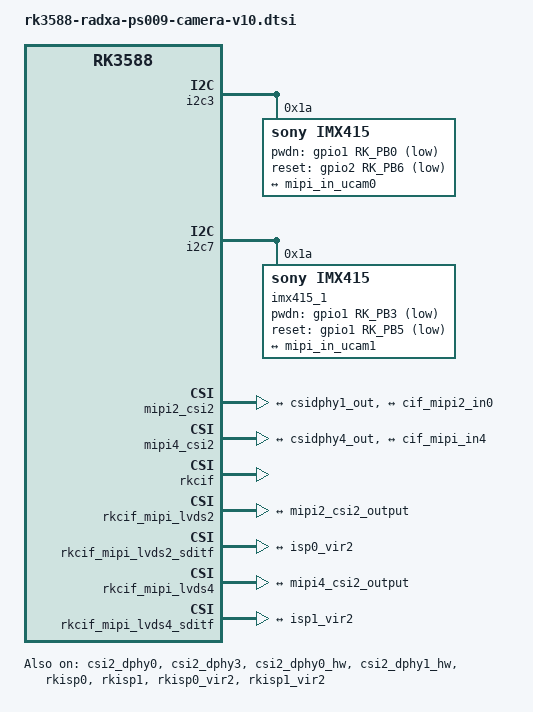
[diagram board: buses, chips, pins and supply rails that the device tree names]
// SPDX-License-Identifier: (GPL-2.0+ OR MIT)
/*
 * Copyright (c) 2021 Rockchip Electronics Co., Ltd.
 *
 */

/* dphy0 full mode */
&csi2_dphy0 {
	status = "okay";

	ports {
		#address-cells = <1>;
		#size-cells = <0>;
		port@0 {
			reg = <0>;
			#address-cells = <1>;
			#size-cells = <0>;

			mipi_in_ucam0: endpoint@1 {
				reg = <1>;
				remote-endpoint = <&imx415_out0>;
				data-lanes = <1 2 3 4>;
			};
		};
		port@1 {
			reg = <1>;
			#address-cells = <1>;
			#size-cells = <0>;

			csidphy1_out: endpoint@0 {
				reg = <0>;
				remote-endpoint = <&mipi2_csi2_input>;
			};
		};
	};
};

/* dphy1 full mode */
&csi2_dphy3 {
	status = "okay";

	ports {
		#address-cells = <1>;
		#size-cells = <0>;
		port@0 {
			reg = <0>;
			#address-cells = <1>;
			#size-cells = <0>;

			mipi_in_ucam1: endpoint@1 {
				reg = <1>;
				remote-endpoint = <&imx415_out1>;
				data-lanes = <1 2 3 4>;
			};
		};
		port@1 {
			reg = <1>;
			#address-cells = <1>;
			#size-cells = <0>;

			csidphy4_out: endpoint@0 {
				reg = <0>;
				remote-endpoint = <&mipi4_csi2_input>;
			};
		};
	};
};


&csi2_dphy0_hw {
	status = "okay";
};

&csi2_dphy1_hw {
	status = "okay";
};

&i2c3 {
	status = "okay";
	pinctrl-names = "default";
	pinctrl-0 = <&i2c3m0_xfer>;

	imx415: imx415@1a {
		compatible = "sony,imx415";
		reg = <0x1a>;
		clocks = <&cru CLK_MIPI_CAMARAOUT_M3>;
		clock-names = "xvclk";
		pinctrl-names = "default";
		pinctrl-0 = <&mipim0_camera3_clk>;
		power-domains = <&power RK3588_PD_VI>;
		pwdn-gpios = <&gpio1 RK_PB0 GPIO_ACTIVE_LOW>;
		reset-gpios = <&gpio2 RK_PB6 GPIO_ACTIVE_LOW>;
		//avdd-supply = <&vcc_mipidphy0>;
		rockchip,camera-module-index = <0>;
		rockchip,camera-module-facing = "back";
		rockchip,camera-module-name = "CMK-OT2022-PX1";
		rockchip,camera-module-lens-name = "IR0147-50IRC-8M-F20";
		//lens-focus = <&cam_ircut0>;
		port {
			imx415_out0: endpoint {
				remote-endpoint = <&mipi_in_ucam0>;
				data-lanes = <1 2 3 4>;
			};
		};
	};
};

&i2c7 {
	status = "okay";
	pinctrl-names = "default";
	pinctrl-0 = <&i2c7m0_xfer>;

	imx415_1: imx415-1@1a {
		compatible = "sony,imx415";
		reg = <0x1a>;
		clocks = <&cru CLK_MIPI_CAMARAOUT_M4>;
		clock-names = "xvclk";
		pinctrl-names = "default";
		pinctrl-0 = <&mipim0_camera4_clk>;
		power-domains = <&power RK3588_PD_VI>;
		pwdn-gpios = <&gpio1 RK_PB3 GPIO_ACTIVE_LOW>;
		reset-gpios = <&gpio1 RK_PB5 GPIO_ACTIVE_LOW>;
		//avdd-supply = <&vcc_mipidphy0>;
		rockchip,camera-module-index = <1>;
		rockchip,camera-module-facing = "front";
		rockchip,camera-module-name = "CMK-OT2022-PX1";
		rockchip,camera-module-lens-name = "IR0147-50IRC-8M-F20";
		//lens-focus = <&cam_ircut0>;
		port {
			imx415_out1: endpoint {
				remote-endpoint = <&mipi_in_ucam1>;
				data-lanes = <1 2 3 4>;
			};
		};
	};
};



&mipi2_csi2 {
	status = "okay";

	ports {
		#address-cells = <1>;
		#size-cells = <0>;

		port@0 {
			reg = <0>;
			#address-cells = <1>;
			#size-cells = <0>;

			mipi2_csi2_input: endpoint@1 {
				reg = <1>;
				remote-endpoint = <&csidphy1_out>;
			};
		};

		port@1 {
			reg = <1>;
			#address-cells = <1>;
			#size-cells = <0>;

			mipi2_csi2_output: endpoint@0 {
				reg = <0>;
				remote-endpoint = <&cif_mipi2_in0>;
			};
		};
	};
};

&mipi4_csi2 {
	status = "okay";

	ports {
		#address-cells = <1>;
		#size-cells = <0>;

		port@0 {
			reg = <0>;
			#address-cells = <1>;
			#size-cells = <0>;

			mipi4_csi2_input: endpoint@1 {
				reg = <1>;
				remote-endpoint = <&csidphy4_out>;
			};
		};

		port@1 {
			reg = <1>;
			#address-cells = <1>;
			#size-cells = <0>;

			mipi4_csi2_output: endpoint@0 {
				reg = <0>;
				remote-endpoint = <&cif_mipi_in4>;
			};
		};
	};
};


&rkcif {
	status = "okay";
};

&rkcif_mipi_lvds2 {
	status = "okay";

	port {
		cif_mipi2_in0: endpoint {
			remote-endpoint = <&mipi2_csi2_output>;
		};
	};
};

&rkcif_mipi_lvds2_sditf {
	status = "okay";

	port {
		mipi_lvds2_sditf: endpoint {
			remote-endpoint = <&isp0_vir2>;
		};
	};
};

&rkcif_mipi_lvds4 {
	status = "okay";

	port {
		cif_mipi_in4: endpoint {
			remote-endpoint = <&mipi4_csi2_output>;
		};
	};
};

&rkcif_mipi_lvds4_sditf {
	status = "okay";

	port {
		mipi4_lvds_sditf: endpoint {
			remote-endpoint = <&isp1_vir2>;
		};
	};
};


&rkcif_mmu {
	status = "okay";
};

&rkisp0 {
	status = "okay";
};

&rkisp1 {
	status = "okay";
};

&isp0_mmu {
	status = "okay";
};

&isp1_mmu {
	status = "okay";
};

&rkisp0_vir2 {
	status = "okay";

	port {
		#address-cells = <1>;
		#size-cells = <0>;

		isp0_vir2: endpoint@0 {
			reg = <0>;
			remote-endpoint = <&mipi_lvds2_sditf>;
		};
	};
};

&rkisp1_vir2 {
	status = "okay";

	port {
		#address-cells = <1>;
		#size-cells = <0>;

		isp1_vir2: endpoint@0 {
			reg = <0>;
			remote-endpoint = <&mipi4_lvds_sditf>;
		};
	};
};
